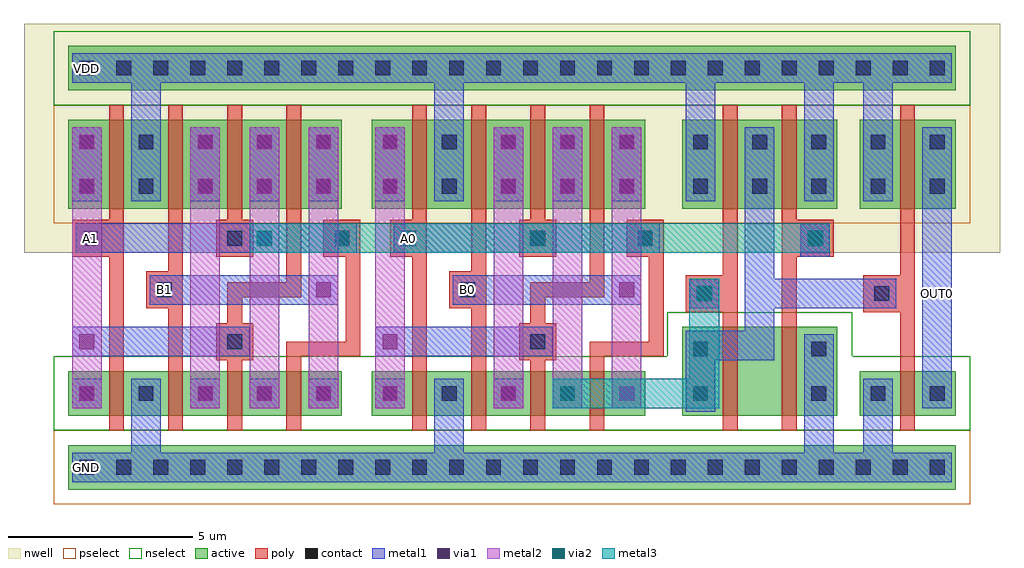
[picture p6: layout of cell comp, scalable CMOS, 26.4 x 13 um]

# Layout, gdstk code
import gdstk
lib = gdstk.Library(unit=1e-6, precision=1e-09)
def R(c, l, rs):  # rectangles x0, y0, x1, y1
    for r in rs: c.add(gdstk.rectangle(r[:2], r[2:], *l))
def A(c, l, x, y, w, h, nx, ny, dx, dy):  # array of equal rectangles
    R(c, l, [(x+i*dx, y+j*dy, x+i*dx+w, y+j*dy+h) for i in range(nx) for j in range(ny)])
contact = (25, 0)
nwell = (42, 0)
active = (43, 0)
pselect = (44, 0)
nselect = (45, 0)
poly = (46, 0)
metal1 = (49, 0)
via1 = (50, 0)
metal2 = (51, 0)
via2 = (61, 0)
metal3 = (62, 0)

comp = lib.new_cell('comp')
A(comp, contact, -12.2, -5.6, 0.4, 0.4, 7, 2, 1, 10.8)
A(comp, contact, -6.2, -5.6, 0.4, 0.4, 6, 2, 1, 10.8)
A(comp, contact, -1.2, -5.6, 0.4, 0.4, 5, 1, 1, 0)
A(comp, contact, 2.8, -5.6, 0.4, 0.4, 3, 1, 1, 0)
A(comp, contact, 7.8, -5.6, 0.4, 0.4, 4, 2, 1, 10.8)
A(comp, contact, 7.6, -3.6, 0.4, 0.4, 3, 1, 1.6, 0)
A(comp, contact, 4.4, 2, 0.4, 0.4, 5, 2, 1.6, 1.2)
A(comp, contact, -1.2, 5.2, 0.4, 0.4, 6, 1, 1, 0)
A(comp, contact, 3.8, 5.2, 0.4, 0.4, 3, 1, 1, 0)
R(comp, contact, [(-12.2,-5.6,-11.8,-5.2), (4.8,-5.6,5.2,-5.2), (5.8,-5.6,6.2,-5.2), (5.8,-5.6,6.2,-5.2), (6.8,-5.6,7.2,-5.2), (6.8,-5.6,7.2,-5.2), (7.8,-5.6,8.2,-5.2), (7.8,-5.6,8.2,-5.2), (-12.2,-3.6,-11.8,-3.2), (-10.6,-3.6,-10.2,-3.2), (-10.6,-3.6,-10.2,-3.2), (-9,-3.6,-8.6,-3.2), (-9,-3.6,-8.6,-3.2), (-7.4,-3.6,-7,-3.2), (-7.4,-3.6,-7,-3.2), (-5.8,-3.6,-5.4,-3.2), (-4,-3.6,-3.6,-3.2), (-2.4,-3.6,-2,-3.2), (-2.4,-3.6,-2,-3.2), (-0.8,-3.6,-0.4,-3.2), (-0.8,-3.6,-0.4,-3.2), (0.8,-3.6,1.2,-3.2), (0.8,-3.6,1.2,-3.2), (2.4,-3.6,2.8,-3.2), (4.4,-3.6,4.8,-3.2), (4.4,-2.4,4.8,-2), (7.6,-2.4,8,-2), (-8.2,-2.2,-7.8,-1.8), (0,-2.2,0.4,-1.8), (4.5,-0.9,4.9,-0.5), (9.3,-0.9,9.7,-0.5), (-10.1,-0.8,-9.7,-0.4), (-1.9,-0.8,-1.5,-0.4), (-12.1,0.6,-11.7,1), (-8.2,0.6,-7.8,1), (-5.3,0.6,-4.9,1), (-3.5,0.6,-3.1,1), (0,0.6,0.4,1), (2.9,0.6,3.3,1), (7.5,0.6,7.9,1), (-12.2,2,-11.8,2.4), (-10.6,2,-10.2,2.4), (-10.6,2,-10.2,2.4), (-9,2,-8.6,2.4), (-9,2,-8.6,2.4), (-7.4,2,-7,2.4), (-7.4,2,-7,2.4), (-5.8,2,-5.4,2.4), (-4,2,-3.6,2.4), (-2.4,2,-2,2.4), (-2.4,2,-2,2.4), (-0.8,2,-0.4,2.4), (-0.8,2,-0.4,2.4), (0.8,2,1.2,2.4), (0.8,2,1.2,2.4), (2.4,2,2.8,2.4), (-12.2,3.2,-11.8,3.6), (-10.6,3.2,-10.2,3.6), (-10.6,3.2,-10.2,3.6), (-9,3.2,-8.6,3.6), (-9,3.2,-8.6,3.6), (-7.4,3.2,-7,3.6), (-7.4,3.2,-7,3.6), (-5.8,3.2,-5.4,3.6), (-4,3.2,-3.6,3.6), (-2.4,3.2,-2,3.6), (-2.4,3.2,-2,3.6), (-0.8,3.2,-0.4,3.6), (-0.8,3.2,-0.4,3.6), (0.8,3.2,1.2,3.6), (0.8,3.2,1.2,3.6), (2.4,3.2,2.8,3.6), (-12.2,5.2,-11.8,5.6), (5.8,5.2,6.2,5.6), (6.8,5.2,7.2,5.6), (6.8,5.2,7.2,5.6), (7.8,5.2,8.2,5.6)])
R(comp, nwell, [(-13.7,0.4,12.7,6.6)])
R(comp, active, [(-12.5,-6,11.5,-4.8), (-12.5,-4,-5.1,-2.8), (-4.3,-4,3.1,-2.8), (4.1,-4,8.3,-1.6), (8.9,-4,11.5,-2.8), (-12.5,1.6,-5.1,4), (-4.3,1.6,3.1,4), (4.1,1.6,6.7,4), (4.1,1.6,6.7,4), (5.7,1.6,8.3,4), (8.9,1.6,11.5,4), (-12.5,4.8,11.5,6), (7.3,4.8,9.9,6), (8.9,4.8,11.5,6)])
R(comp, pselect, [(-12.9,-6.4,11.9,-4.4), (-12.9,1.2,3.7,4.4), (3.7,1.2,7.1,4.4), (5.3,1.2,8.7,4.4), (8.5,1.2,11.9,4.4)])
R(comp, nselect, [(-12.9,-4.4,3.7,-2.4), (3.7,-4.4,8.7,-1.2), (8.5,-4.4,11.9,-2.4), (-12.9,4.4,11.9,6.4), (6.9,4.4,10.3,6.4), (8.5,4.4,11.9,6.4)])
R(comp, poly, [(-11.4,-4.4,-11,-2.4), (-9.8,-4.4,-9.4,-2.4), (-8.2,-4.4,-7.8,-0.4), (-6.6,-4.4,-6.2,-2), (-3.2,-4.4,-2.8,-2.4), (-1.6,-4.4,-1.2,-2.4), (0,-4.4,0.4,-0.4), (1.6,-4.4,2,-2), (5.2,-4.4,5.6,-1.1), (6.8,-4.4,7.2,-1.1), (10,-4.4,10.4,-2.4), (-8.5,-2.5,-7.5,-1.5), (-0.3,-2.5,0.7,-1.5), (-11.4,-2.4,-11,4.4), (-9.8,-2.4,-9.4,4.4), (-6.6,-2.4,-4.6,-2), (-5,-2.4,-4.6,0.5), (-3.2,-2.4,-2.8,4.4), (-1.6,-2.4,-1.2,4.4), (1.6,-2.4,3.6,-2), (3.2,-2.4,3.6,0.5), (10,-2.4,10.4,1.2), (4.2,-1.2,5.2,-0.2), (9,-1.2,10,-0.2), (-10.4,-1.1,-9.4,-0.1), (-2.2,-1.1,-1.2,-0.1), (5.2,-1.1,5.6,2.6), (6.8,-1.1,7.2,2.6), (-8.2,-0.8,-6.2,-0.4), (-6.6,-0.8,-6.2,4.4), (0,-0.8,2,-0.4), (1.6,-0.8,2,4.4), (-12.4,0.3,-11.4,1.3), (-8.5,0.3,-7.5,1.3), (-5.6,0.3,-4.6,1.3), (-3.8,0.3,-2.8,1.3), (-0.3,0.3,0.7,1.3), (2.6,0.3,3.6,1.3), (7.2,0.3,8.2,1.3), (-8.2,1.2,-7.8,4.4), (0,1.2,0.4,4.4), (5.2,1.2,5.6,4.4), (6.8,1.2,7.2,4.4), (10,1.2,10.4,4.4)])
A(comp, metal1, -9.2, -3.8, 0.8, 0.8, 3, 1, 1.6, 0)
A(comp, metal1, -1, -3.8, 0.8, 0.8, 3, 1, 1.6, 0)
A(comp, metal1, -9.2, 1.8, 0.8, 2, 3, 1, 1.6, 0)
A(comp, metal1, -1, 1.8, 0.8, 2, 3, 1, 1.6, 0)
R(comp, metal1, [(-12.4,-5.8,11.4,-5), (-10.8,-5.8,-10,-3), (-4.2,-5.8,3,-5), (-2.6,-5.8,-1.8,-3), (7.4,-5.8,8.2,-1.8), (9,-5.8,9.8,-3), (4.2,-3.9,5,-2.5), (-12.4,-3.8,-11.6,-3), (-4.2,-3.8,-3.4,-3), (10.6,-3.8,11.4,3.8), (4.2,-2.5,6.6,-1.7), (5.8,-2.5,6.6,3.8), (-12.4,-2.4,-7.6,-1.6), (-8.4,-2.4,-7.6,-1.6), (-4.2,-2.4,0.6,-1.6), (-0.2,-2.4,0.6,-1.6), (4.3,-1.1,5.1,-0.3), (4.3,-1.1,5.1,-0.3), (5.8,-1.1,9.9,-0.3), (-10.3,-1,-9.5,-0.2), (-10.3,-1,-5.2,-0.2), (-2.1,-1,-1.3,-0.2), (-2.1,-1,3,-0.2), (7.3,0.3,8.1,1.1), (-12.3,0.4,-8.4,1.2), (-8.4,0.4,-7.6,1.2), (-8.4,0.4,-4.7,1.2), (-3.7,0.4,-0.2,1.2), (-0.2,0.4,0.6,1.2), (-0.2,0.4,3.5,1.2), (7.3,0.4,8.1,1.2), (-12.4,1.8,-11.6,3.8), (-10.8,1.8,-10,5.7), (-4.2,1.8,-3.4,3.8), (-2.6,1.8,-1.8,5.7), (4.2,1.8,5,5.7), (7.4,1.8,8.2,5.7), (9,1.8,9.8,5.8), (-12.4,5,11.4,5.8), (-4.2,5,3,5.8)])
A(comp, via1, -9, -3.6, 0.4, 0.4, 3, 2, 1.6, 5.6)
A(comp, via1, -0.8, -3.6, 0.4, 0.4, 3, 2, 1.6, 5.6)
A(comp, via1, -9, 3.2, 0.4, 0.4, 3, 1, 1.6, 0)
A(comp, via1, -0.8, 3.2, 0.4, 0.4, 3, 1, 1.6, 0)
R(comp, via1, [(-12.2,-3.6,-11.8,-3.2), (-4,-3.6,-3.6,-3.2), (-12.2,-2.2,-11.8,-1.8), (-4,-2.2,-3.6,-1.8), (4.5,-0.9,4.9,-0.5), (-5.8,-0.8,-5.4,-0.4), (2.4,-0.8,2.8,-0.4), (7.5,0.6,7.9,1), (-12.2,2,-11.8,2.4), (-4,2,-3.6,2.4), (-12.2,3.2,-11.8,3.6), (-4,3.2,-3.6,3.6)])
A(comp, metal2, -9.2, -3.8, 0.8, 7.6, 3, 1, 1.6, 0)
A(comp, metal2, -1, -3.8, 0.8, 7.6, 3, 1, 1.6, 0)
R(comp, metal2, [(-12.4,-3.8,-11.6,3.8), (-4.2,-3.8,-3.4,3.8), (4.3,-1.1,5.1,-0.3), (7.3,0.4,8.1,1.2)])
R(comp, via2, [(0.8,-3.6,1.2,-3.2), (0.8,-3.6,1.2,-3.2), (0.8,-3.6,1.2,-3.2), (4.5,-0.9,4.9,-0.5), (-7.4,0.6,-7,1), (7.5,0.6,7.9,1)])
R(comp, metal3, [(0.6,-3.8,5.1,-3), (4.3,-3.8,5.1,-0.3), (-7.6,0.4,8.1,1.2)])
comp.add(gdstk.Label('OUT0', (11,-0.7), layer=75, texttype=0))
comp.add(gdstk.Label('A0', (-3.3,0.8), layer=75, texttype=0))
comp.add(gdstk.Label('B0', (-1.7,-0.6), layer=75, texttype=0))
comp.add(gdstk.Label('GND', (-12,-5.4), layer=75, texttype=0))
comp.add(gdstk.Label('VDD', (-12,5.4), layer=75, texttype=0))
comp.add(gdstk.Label('A1', (-11.9,0.8), layer=75, texttype=0))
comp.add(gdstk.Label('B1', (-9.9,-0.6), layer=75, texttype=0))

lib.write_gds('comp.gds')
